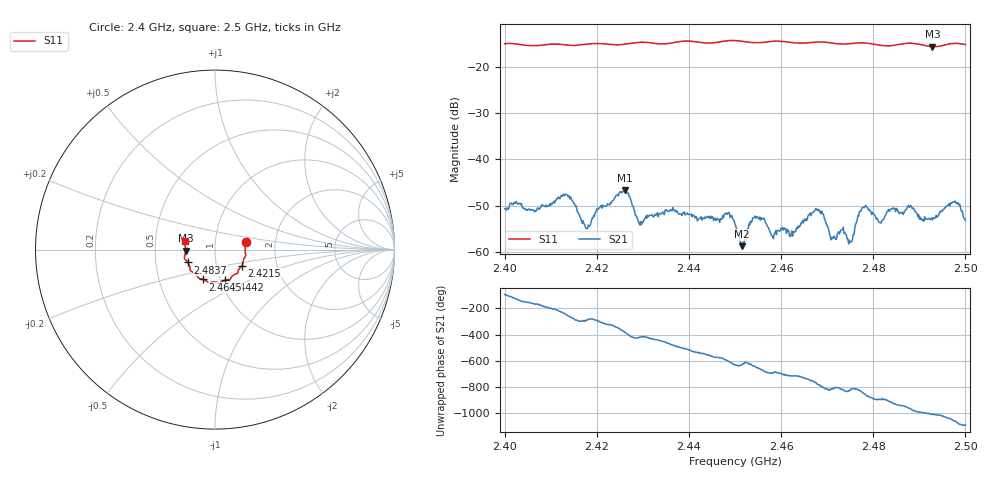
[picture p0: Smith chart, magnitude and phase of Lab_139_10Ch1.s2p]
# Hz S RI R 50
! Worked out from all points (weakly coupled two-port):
!   601 points, 2.4 GHz to 2.5 GHz, reference 50 ohm
!   highest |S21| = -46.72 dB at 2.4262 GHz (marker M1); lowest = -58.7 dB at 2.4515 GHz (marker M2)
!   lowest |S11| = -15.7 dB at 2.4928 GHz (marker M3), VSWR 1.39, Z = 36 - j0.381 ohm
!   |S11| at or under -10 dB: start of sweep to end of sweep
!   S12 and S22 are empty: the file has one direction only
!   S11 on the Smith chart (normalised r, x): 2.4 GHz: 1.41, +0.12; 2.4215 GHz: 1.33, -0.25; 2.4442 GHz: 1.05, -0.37; 2.4645 GHz: 0.83, -0.29; 2.4837 GHz: 0.73, -0.11; 2.5 GHz: 0.71, +0.07
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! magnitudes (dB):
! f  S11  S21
! 2.4 GHz  -15.1  -50.7
! 2.4132 GHz  -15.3  -47.5
! 2.4167 GHz  -15.3  -53.3
! 2.4215 GHz  -15.1  -50.1
! 2.4262 GHz  -15.2  -46.7
! 2.4295 GHz  -14.8  -53.4
! 2.4333 GHz  -15.1  -52.4
! 2.4442 GHz  -15.0  -52.5
! 2.45 GHz  -14.4  -54.0
! 2.4515 GHz  -14.6  -58.7
! 2.4543 GHz  -14.9  -52.2
! 2.4582 GHz  -14.6  -56.7
! 2.4645 GHz  -15.0  -53.7
! 2.4667 GHz  -14.8  -51.6
! 2.475 GHz  -15.1  -57.9
! 2.478 GHz  -14.9  -50.5
! 2.4815 GHz  -15.4  -53.7
! 2.4833 GHz  -15.6  -50.8
! 2.4837 GHz  -15.5  -50.9
! 2.4928 GHz  -15.7  -53.1
! 2.4977 GHz  -15.0  -49.1
! 2.5 GHz  -15.3  -53.2
